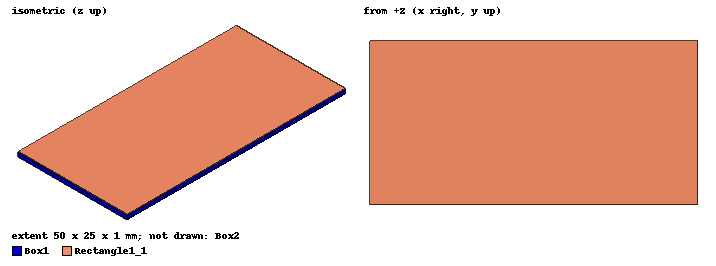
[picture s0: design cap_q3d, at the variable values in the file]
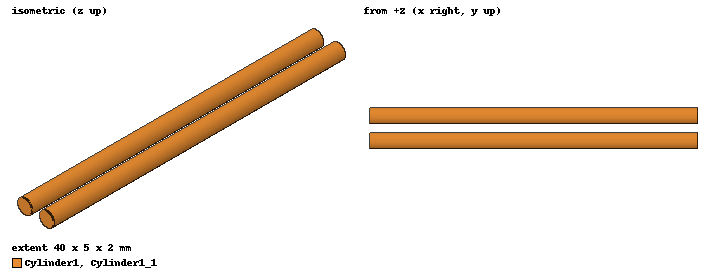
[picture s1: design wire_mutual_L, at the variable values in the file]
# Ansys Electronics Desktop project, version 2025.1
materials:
  air: permittivity=1.0006 permeability=1.0000004
  copper: permeability=0.999991 conductivity=58000000
  FR4_epoxy: permittivity=4.4 dielectric_loss_tangent=0.02
  gallium_arsenide: permittivity=12.9 conductivity=1e-05
  gold: permeability=0.99996 conductivity=41000000
  sapphire: permittivity=9.4
  SolderMask: permittivity=3.1 dielectric_loss_tangent=0.035
  vacuum: permittivity=1

design cap_q3d (Q3D Extractor, model units mm)
options: SParamCalcMethod=EqTransLine Calculate_Lossy_Dielectrics
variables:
  x_size = 50mm
  y_size = 25mm
  d = 1mm
  airx = 60mm
  airy = 40mm
  airz = 20mm
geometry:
  Rectangle1 [copper] = rectangle(corner=(-1mm, 1mm, 0mm), x_size=x_size, y_size=y_size)
  Rectangle1_1 [copper] = Rectangle1.duplicate_along_line(step=(0mm, 0mm, d), total=2)
  Box1 [sapphire] = box(corner=(-1mm, 1mm, 0mm), size=(50mm, 25mm, 1mm))
  Box2 [air] = box(corner=(-airx/2, -airy/2, -airz/2), size=(airx, airy, airz))
  [Rectangle1, Rectangle1_1, Box1].move(-25mm, -12.5mm, -3mm)
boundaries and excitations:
  ThinCond1: ThinConductor Objects=[Rectangle1_1, Rectangle1] Material=Copper Thickness=1mm
  Rectangle1: SignalNet Objects=Rectangle1
  Rectangle1_1: SignalNet Objects=Rectangle1_1
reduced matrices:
  GroundNetMatrix: Operations{op(GroundNet1, 0, GroundNet(2))}
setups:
  Setup1: Matrix AdaptiveFreq=1GHz Cap{MaxPass=10 MinPass=1 MinConvPass=1 PerError=1 PerRefine=30 AutoIncreaseAccuracy AccuracyLevel=High Solver_Type=Iterative} ErrorValue=0.1
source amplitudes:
  Rectangle1: CG Fields 1V 0deg
  Rectangle1_1: CG Fields 0V 0deg

design wire_L (Q3D Extractor, model units mm)
options: SParamCalcMethod=EqTransLine Calculate_Lossy_Dielectrics
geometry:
  Cylinder1 [copper] = cylinder(axis=X, base_centre=(0mm, -10.5mm, 8.5mm), radius=0.5mm, height=20mm)
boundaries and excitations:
  Source1: Source Faces=Cylinder1.face(+x end) TerminalType=ConstantVoltage Net=Cylinder1
  Cylinder1: SignalNet Objects=Cylinder1
  Sink1: Sink Faces=Cylinder1.face(-x end) TerminalType=ConstantVoltage Net=Cylinder1
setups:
  Setup1: Matrix AdaptiveFreq=1kHz Cap{MaxPass=10 MinPass=1 MinConvPass=1 PerError=1 PerRefine=30 AutoIncreaseAccuracy AccuracyLevel=High Solver_Type=Iterative} DC{Cond{MaxPass=10 MinPass=1 MinConvPass=1 PerError=1 PerRefine=30} Mult{MaxPass=1 MinPass=1 MinConvPass=1 PerError=1 PerRefine=30} AccuracyLevel=Normal} AC{MaxPass=10 MinPass=1 MinConvPass=1 PerError=1 PerRefine=30 ACRLSolverType=ACA} ErrorValue=0.1
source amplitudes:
  Cylinder1:Source1: AC R/L Fields 1A 0deg
  Cylinder1: CG Fields 1V 0deg
  Cylinder1:Source1: DC R/L Fields 1A 0deg

design wire_mutual_L (Q3D Extractor, model units mm)
options: SParamCalcMethod=EqTransLine Calculate_Lossy_Dielectrics
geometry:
  Cylinder1 [copper] = cylinder(axis=X, base_centre=(0mm, -0.6mm, 0.8mm), radius=1mm, height=40mm)
  Cylinder1_1 [copper] = Cylinder1.duplicate_along_line(step=(0mm, 3mm, 0mm), total=2)
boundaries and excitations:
  Cylinder1: SignalNet Objects=Cylinder1
  Cylinder1_1: SignalNet Objects=Cylinder1_1
  Source1: Source Faces=Cylinder1_1.face(at (40, 2.4, 0.8)) TerminalType=ConstantVoltage Net=Cylinder1_1
  Sink1: Sink Faces=Cylinder1_1.face(at (0, 2.4, 0.8)) TerminalType=ConstantVoltage Net=Cylinder1_1
  Source2: Source Faces=Cylinder1.face(-x end) TerminalType=ConstantVoltage Net=Cylinder1
  Sink2: Sink Faces=Cylinder1.face(+x end) TerminalType=ConstantVoltage Net=Cylinder1
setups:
  Setup1: Matrix AdaptiveFreq=1GHz Cap{MaxPass=10 MinPass=1 MinConvPass=1 PerError=1 PerRefine=30 AutoIncreaseAccuracy AccuracyLevel=High Solver_Type=Iterative} DC{Cond{MaxPass=10 MinPass=1 MinConvPass=1 PerError=1 PerRefine=30} Mult{MaxPass=1 MinPass=1 MinConvPass=1 PerError=1 PerRefine=30} AccuracyLevel=Normal} AC{MaxPass=10 MinPass=1 MinConvPass=1 PerError=1 PerRefine=30 ACRLSolverType=ACA} ErrorValue=0.1
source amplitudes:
  Cylinder1_1:Source1: AC R/L Fields 1A 0deg
  Cylinder1:Source2: AC R/L Fields 0A 0deg
  Cylinder1: CG Fields 1V 0deg
  Cylinder1_1: CG Fields 0V 0deg
  Cylinder1_1:Source1: DC R/L Fields 1A 0deg
  Cylinder1:Source2: DC R/L Fields 0A 0deg

design Circuit1 (Circuit)
options: SParamCircuitDef IntegrationMethod=FFT
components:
  A8 = NXGCPWTRL(W=72um G=33um P=1000um)
  A1 = NXGCPWTRL(W=72um G=33um P=1000um)
  L12 = IND_(L=8.2e-12)
  C13 = CAP_(C=1.09e-10farad)
  C14 = CAP_(C=1.09e-10farad)
  R17 = RES_(R=1)
  V18 = V_SIN(ACMAG=1V)
  A26 = NXGCPWTRL(W=15.5um G=88.5um P=515.032um)
  A27 = NXGCPWTRL(W=26.5um G=78.5um P=10um)
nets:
  0: C14.0, C13.0, V18.1
  net_4: L12.1, R17.0
  net_5: C14.1, R17.1
  Vin: L12.0, C13.1, V18.0
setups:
  LinearFrequency: LinearFrequencyData(false, 0.1, false, "", false) SweepDefinition{Variable=Freq Data="LINC 1GHz 40GHz 500"}
